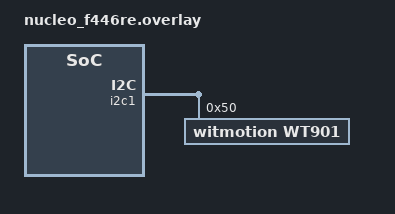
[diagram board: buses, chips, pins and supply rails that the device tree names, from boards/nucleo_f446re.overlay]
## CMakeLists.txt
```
# SPDX-License-Identifier: Apache-2.0

cmake_minimum_required(VERSION 3.20.0)

find_package(Zephyr REQUIRED HINTS $ENV{ZEPHYR_BASE})
project(ahrsi2c)

FILE(GLOB app_sources src/*.c)
target_sources(app PRIVATE ${app_sources})
```

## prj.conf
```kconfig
CONFIG_GPIO=y
CONFIG_I2C=y
CONFIG_CBPRINTF_FP_SUPPORT=y
CONFIG_NEWLIB_LIBC=y
```

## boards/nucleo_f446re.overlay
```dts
&i2c1 {
     ahrs: wt901@50 {
             compatible = "witmotion,wt901";
             label = "witmotion";
             reg = <0x50>;
     };
};
```

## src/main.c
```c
#include <zephyr/kernel.h>
#include <zephyr/drivers/gpio.h>
#include <zephyr/drivers/i2c.h>

#include <stdio.h>
#include <stdlib.h>
#include <stdbool.h>

//Datasheet can be found here: https://images-na.ssl-images-amazon.com/images/I/B11fVGszLsS.pdf

/* The devicetree node identifier for the ahrs */
#define I2C0_NODE DT_NODELABEL(ahrs)

//Start byte for roll register
#define angleregister 0x3d
#define angvelregister 0x37

static const struct i2c_dt_spec dev_i2c = I2C_DT_SPEC_GET(I2C0_NODE);

uint8_t attitude_reading[6];
uint8_t angvel_reading[6];


//Reads and outputs attitude in degrees
bool read_angle(float angle[]){
	//Burst read = read all registers at once
	int ret = i2c_burst_read_dt(&dev_i2c, angleregister, attitude_reading, sizeof(attitude_reading));
	if(ret != 0){
		return false;
	}

	//Lowbyte + highbyte conversion
	//Roll
	angle[0] = ( (float) ( attitude_reading[1] * 256 + attitude_reading[0] ) ) / 32768. * 180.;

	//Pitch
	angle[1] = ( (float) ( attitude_reading[3] * 256 + attitude_reading[2] ) )  / 32768. * 180.;

	//Yaw
	angle[2] = ( (float) ( attitude_reading[5] * 256 + attitude_reading[4] ) )  / 32768. * 180.;

	return true;
}

//Reads & outputs angular velocity in degrees/sec
//Returns weird data (~4000) when turning counterclockwise
bool read_angvel(float angvel[]){
	//Burst read = read all registers at once
	int ret = i2c_burst_read_dt(&dev_i2c, angvelregister, angvel_reading, sizeof(angvel_reading));
	if(ret != 0){
		return false;
	}

	//Lowbyte + highbyte conversion
	//Velocity x
	angvel[0] = ( (float) ( angvel_reading[1] * 256 + angvel_reading[0] ) ) / 32768. * 2000.;

	//Velocity y
	angvel[1] = ( (float) ( angvel_reading[3] * 256 + angvel_reading[2] ) )  / 32768. * 2000.;

	//Velocity z
	angvel[2] = ( (float) ( angvel_reading[5] * 256 + angvel_reading[4] ) )  / 32768. * 2000.;

	return true;
}

int main(void)
{

	//Configure i2c bus
	int ret;
	if (!device_is_ready(dev_i2c.bus)) {
		printk("I2C bus %s is not ready!\n\r",dev_i2c.bus->name);
		return 1;
	}

	float angle[3];
	float angvel[3];

	//Read measurements continuously
	while (1) {		
		if( read_angle(&angle) && read_angvel(&angvel)){
			printk("Yaw: %f; Pitch: %f; Roll: %f\n", angle[2], angle[1], angle[0]);
			printk("Angular velocity: X: %f; Y: %f; Z: %f\n", angvel[0], angvel[1], angvel[2]);
		}

		//Sleep for 0.1 seconds before repeating
		k_msleep(100);
	}

	return 0;
}
```
